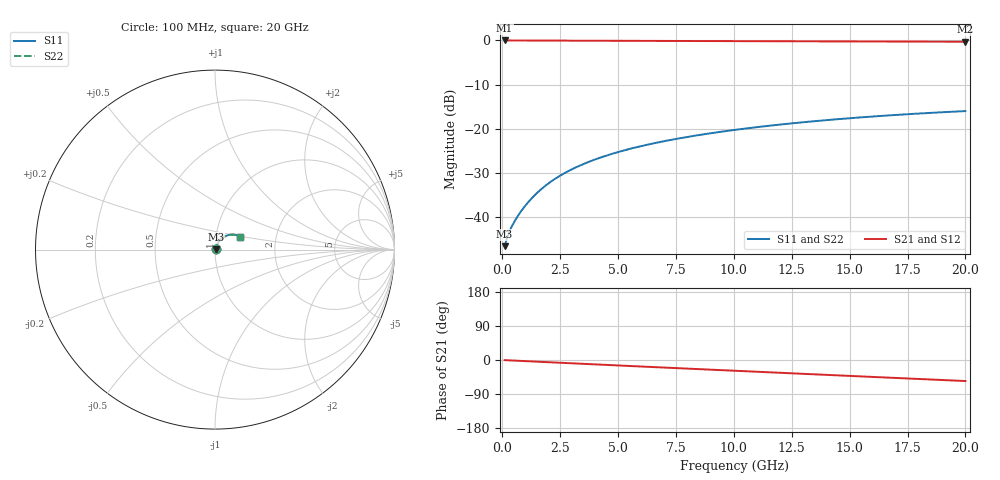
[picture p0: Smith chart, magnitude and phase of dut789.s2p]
! Touchstone file exported from HFSS 2026.1.0
!  File:  C:/ffzhzh/LocalFiles/Ansys_Project_Files/temp_train_BSMRDL_789_1783169518_18472.aedt
!  Generated:  08:53:25 PM Jul  4, 2026
!  Design:  BSMRDL
!  Project:  temp_train_BSMRDL_789_1783169518_18472
! Variables:
!  h_bsmrdl = 4.76um
!  h_ox = 20um
!  h_rdl = 5um
!  h_sub = 80um
!  h_tmrdl = 5um
!  h_tsv = 80um
!  h_via = 3um
!  l_bsmrdl = 997.01um
!  l_sub = 1397.01um
!  l_tmrdl = 200um
!  m_sub = 200um
!  pitch = 25.03um
!  r_tsv = 6um
!  s_tmrdl = 10um
!  w_bsmrdl = 17.67um
!  w_sub = 500um
!  w_tmrdl = 12um
!  x_tsv_center1 = 206um
!  x_tsv_center2 = 1220.68um
!  x_tsv_center3 = 1432.68um
!  x_tsv_center4 = 2447.36um
!  x_tsv_center5 = 2659.36um
!  x_tsv_center6 = 3674.04um
# GHz S MA R 50.000000
! Terminal data exported
! Port[1] = BSM_RDL1_1_T1
! Port[2] = BSM_RDL1_1_T2
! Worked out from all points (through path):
!   200 points, 100 MHz to 20 GHz, reference 50 ohm
!   highest |S21| = -0.04 dB at 100 MHz (marker M1); lowest = -0.3 dB at 20 GHz (marker M2)
!   group delay of S21, straight-line fit = 7.68 ps
!   lowest |S11| = -46.5 dB at 100 MHz (marker M3), VSWR 1.01, Z = 50.4 + j0.174 ohm
!   |S11| at or under -10 dB: start of sweep to end of sweep
!   |S22| runs from -46.5 to -16.0 dB; largest |S21 - S12| = 2.6e-15
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0.1  0.004745 21.3  0.9956 -0.3  0.9956 -0.3  0.004745 21.3
! Gamma 0 0 0 0
! Port Impedance 50 0 50 0
0.2  0.0058 33.1  0.9952 -0.6  0.9952 -0.6  0.0058 33.1
0.3  0.006849 39.6  0.9948 -0.9  0.9948 -0.9  0.006848 39.6
0.4  0.007822 44.2  0.9945 -1.2  0.9945 -1.2  0.007821 44.2
0.5  0.008762 47.9  0.9943 -1.5  0.9943 -1.5  0.008762 47.9
0.7  0.01066 53.8  0.994 -2.1  0.994 -2.1  0.01066 53.8
0.9  0.01264 58.0  0.9938 -2.7  0.9938 -2.7  0.01264 58.0
1.3  0.01679 63.1  0.9933 -3.8  0.9933 -3.8  0.01679 63.1
1.8  0.02215 66.0  0.9927 -5.3  0.9927 -5.3  0.02215 66.0
2.3  0.02753 67.0  0.9919 -6.7  0.9919 -6.7  0.02753 67.0
2.9  0.03388 66.9  0.9909 -8.5  0.9909 -8.5  0.03388 66.9
3.5  0.04007 66.2  0.9898 -10.2  0.9898 -10.2  0.04007 66.2
4.2  0.04706 65.0  0.9884 -12.2  0.9884 -12.2  0.04706 65.0
5  0.05475 63.3  0.9868 -14.4  0.9868 -14.4  0.05474 63.3
5.9  0.06304 61.2  0.9851 -16.9  0.9851 -16.9  0.06303 61.2
6.8  0.071 59.2  0.9834 -19.4  0.9834 -19.4  0.07099 59.1
8.3  0.08364 55.6  0.9807 -23.6  0.9807 -23.6  0.08362 55.6
10.1  0.09789 51.3  0.9776 -28.6  0.9776 -28.6  0.09787 51.3
11.7  0.1098 47.5  0.9751 -33.0  0.9751 -33.0  0.1098 47.5
13.4  0.1216 43.3  0.9725 -37.6  0.9725 -37.6  0.1216 43.3
16.7  0.142 35.2  0.9679 -46.6  0.9679 -46.6  0.142 35.2
20  0.1589 26.9  0.9637 -55.5  0.9637 -55.5  0.1588 27.0
